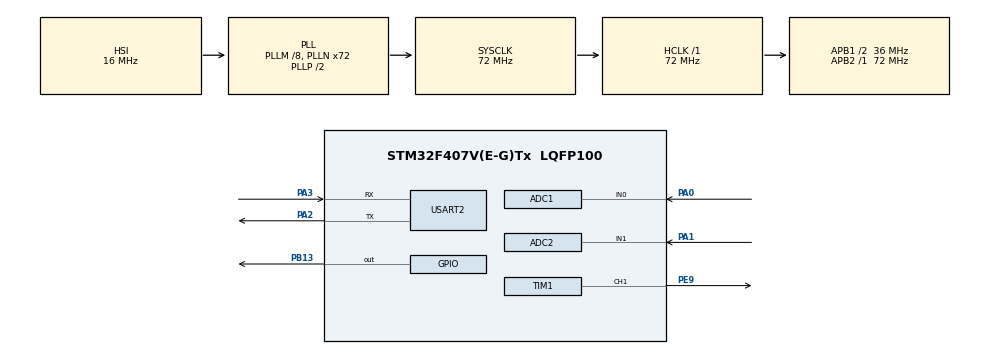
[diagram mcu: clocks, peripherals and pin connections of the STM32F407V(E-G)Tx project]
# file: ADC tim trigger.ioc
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ADC1.Channel-0\#ChannelRegularConversion=ADC_CHANNEL_0
ADC1.ExternalTrigConv=ADC_EXTERNALTRIGCONV_T2_TRGO
ADC1.NbrOfConversion=1
ADC1.NbrOfConversionFlag=1
ADC1.Rank-0\#ChannelRegularConversion=1
ADC1.Resolution=ADC_RESOLUTION_12B
ADC1.SamplingTime-0\#ChannelRegularConversion=ADC_SAMPLETIME_3CYCLES
ADC1.master=1
ADC2.Channel-0\#ChannelRegularConversion=ADC_CHANNEL_1
ADC2.ExternalTrigConv=ADC_EXTERNALTRIGCONV_T2_TRGO
ADC2.NbrOfConversionFlag=1
ADC2.Rank-0\#ChannelRegularConversion=1
ADC2.Resolution=ADC_RESOLUTION_12B
ADC2.SamplingTime-0\#ChannelRegularConversion=ADC_SAMPLETIME_3CYCLES
Dma.Request0=USART2_RX
Dma.USART2_RX.0.Direction=DMA_PERIPH_TO_MEMORY
Dma.USART2_RX.0.FIFOMode=DMA_FIFOMODE_DISABLE
Dma.USART2_RX.0.Instance=DMA1_Stream5
Dma.USART2_RX.0.MemDataAlignment=DMA_MDATAALIGN_BYTE
Dma.USART2_RX.0.MemInc=DMA_MINC_ENABLE
Dma.USART2_RX.0.Mode=DMA_NORMAL
Dma.USART2_RX.0.PeriphDataAlignment=DMA_PDATAALIGN_BYTE
Dma.USART2_RX.0.PeriphInc=DMA_PINC_DISABLE
Dma.USART2_RX.0.Priority=DMA_PRIORITY_LOW
Mcu.Family=STM32F4
Mcu.Name=STM32F407V(E-G)Tx
Mcu.Package=LQFP100
NVIC.ADC_IRQn=true\:0\:0\:false\:false\:true\:true\:true
NVIC.DMA1_Stream5_IRQn=true\:0\:0\:false\:false\:true\:false\:true
NVIC.PriorityGroup=NVIC_PRIORITYGROUP_4
NVIC.TIM2_IRQn=true\:0\:0\:false\:false\:true\:true\:true
NVIC.USART2_IRQn=true\:0\:0\:false\:false\:true\:true\:true
PA0-WKUP.Signal=ADCx_IN0
PA1.Signal=ADCx_IN1
PA2.Mode=Asynchronous
PA2.Signal=USART2_TX
PA3.Mode=Asynchronous
PA3.Signal=USART2_RX
PB13.Signal=GPIO_Output
PE9.Signal=S_TIM1_CH1
PH0-OSC_IN.Mode=HSE-External-Oscillator
PH0-OSC_IN.Signal=RCC_OSC_IN
PH1-OSC_OUT.Mode=HSE-External-Oscillator
PH1-OSC_OUT.Signal=RCC_OSC_OUT
ProjectManager.HeapSize=0x200
ProjectManager.StackSize=0x400
ProjectManager.TargetToolchain=MDK-ARM V5.32
RCC.48MHZClocksFreq_Value=36000000
RCC.AHBFreq_Value=72000000
RCC.APB1CLKDivider=RCC_HCLK_DIV2
RCC.APB1Freq_Value=36000000
RCC.APB1TimFreq_Value=72000000
RCC.APB2Freq_Value=72000000
RCC.APB2TimFreq_Value=72000000
RCC.CortexFreq_Value=72000000
RCC.HCLKFreq_Value=72000000
RCC.HSE_VALUE=25000000
RCC.HSI_VALUE=16000000
RCC.LSE_VALUE=32768
RCC.PLLM=8
RCC.PLLN=72
RCC.SYSCLKFreq_VALUE=72000000
RCC.SYSCLKSource=RCC_SYSCLKSOURCE_PLLCLK
RCC.VCOOutputFreq_Value=144000000
SH.ADCx_IN0.0=ADC1_IN0,IN0
SH.ADCx_IN1.0=ADC2_IN1,IN1
SH.S_TIM1_CH1.0=TIM1_CH1,PWM Generation1 CH1
TIM1.Channel-PWM\ Generation1\ CH1=TIM_CHANNEL_1
TIM1.Period=2500
TIM1.Prescaler=72
TIM1.Pulse-PWM\ Generation1\ CH1=625
TIM2.AutoReloadPreload=TIM_AUTORELOAD_PRELOAD_ENABLE
TIM2.Period=360
TIM2.Prescaler=1000
TIM2.TIM_MasterOutputTrigger=TIM_TRGO_UPDATE
USART2.VirtualMode=VM_ASYNC
VP_TIM1_VS_ClockSourceINT.Mode=Internal
VP_TIM2_VS_ClockSourceINT.Mode=Internal
board=custom

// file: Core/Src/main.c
/* USER CODE BEGIN Header */
/**
  ******************************************************************************
  * @file           : main.c
  * @brief          : Main program body
  ******************************************************************************
  * @attention
  *
  * <h2><center>&copy; Copyright (c) 2021 STMicroelectronics.
  * All rights reserved.</center></h2>
  *
  * This software component is licensed by ST under BSD 3-Clause license,
  * the "License"; You may not use this file except in compliance with the
  * License. You may obtain a copy of the License at:
  *                        opensource.org/licenses/BSD-3-Clause
  *
  ******************************************************************************
  */
/* USER CODE END Header */
#include "main.h"
#include "string.h"
#include "stdio.h"

ADC_HandleTypeDef hadc1;
ADC_HandleTypeDef hadc2;

TIM_HandleTypeDef htim1;
TIM_HandleTypeDef htim2;

UART_HandleTypeDef huart2;
DMA_HandleTypeDef hdma_usart2_rx;

void SystemClock_Config(void);
static void MX_GPIO_Init(void);
static void MX_ADC1_Init(void);
static void MX_DMA_Init(void);
static void MX_USART2_UART_Init(void);
static void MX_TIM2_Init(void);
static void MX_ADC2_Init(void);
static void MX_TIM1_Init(void);

/* USER CODE BEGIN 0 */
uint16_t adcVal1, adcVal2;
char txData1[15];
uint8_t RX2_Char = 0x00;
/* USER CODE END 0 */

int main(void)
{

  /* MCU Configuration--------------------------------------------------------*/

  /* Reset of all peripherals, Initializes the Flash interface and the Systick. */
  HAL_Init();

  /* Configure the system clock */
  SystemClock_Config();

  /* Initialize all configured peripherals */
  MX_GPIO_Init();
  MX_ADC1_Init();
  MX_DMA_Init();
  MX_USART2_UART_Init();
  MX_TIM2_Init();
  MX_ADC2_Init();
  MX_TIM1_Init();
  /* USER CODE BEGIN 2 */
	//HAL_TIM_Base_Start(&htim2);
	HAL_TIM_Base_Start_IT(&htim2);
	HAL_ADC_Start_IT(&hadc1);
	HAL_ADC_Start_IT(&hadc2);
	HAL_UART_Receive_IT(&huart2, &RX2_Char, 1);
	HAL_TIM_PWM_Start(&htim1, TIM_CHANNEL_1);
  /* USER CODE END 2 */

  /* Infinite loop */
  while (1)
  {

    /* USER CODE BEGIN 3 */
		//--------[ Read The Received Character & Toggle LEDs Accordingly ]--------
    if(RX2_Char == 'A')
    {
			htim1.Instance->CCR1 = 1350;
    }
    if(RX2_Char == 'B')
    {
			htim1.Instance->CCR1 = 1250;
    }
		if(RX2_Char == 'C')
    {
			htim1.Instance->CCR1 = 750;
    }
		HAL_UART_Receive_IT(&huart2, &RX2_Char, 1);
		RX2_Char = 0x00;
    HAL_Delay(5);
  }
  /* USER CODE END 3 */
}

void HAL_TIM_PeriodElapsedCallback(TIM_HandleTypeDef* htim)
{

	adcVal1 = HAL_ADC_GetValue(&hadc1);
	adcVal2 = HAL_ADC_GetValue(&hadc2);

	sprintf(txData1, "%u   %u", adcVal1, adcVal2);

	HAL_UART_Transmit(&huart2, (uint8_t *)txData1, strlen(txData1), 15);
}

void SystemClock_Config(void)
{
  RCC_OscInitTypeDef RCC_OscInitStruct = {0};
  RCC_ClkInitTypeDef RCC_ClkInitStruct = {0};

  /** Configure the main internal regulator output voltage
  */
  __HAL_RCC_PWR_CLK_ENABLE();
  __HAL_PWR_VOLTAGESCALING_CONFIG(PWR_REGULATOR_VOLTAGE_SCALE1);
  /** Initializes the RCC Oscillators according to the specified parameters
  * in the RCC_OscInitTypeDef structure.
  */
  RCC_OscInitStruct.OscillatorType = RCC_OSCILLATORTYPE_HSI;
  RCC_OscInitStruct.HSIState = RCC_HSI_ON;
  RCC_OscInitStruct.HSICalibrationValue = RCC_HSICALIBRATION_DEFAULT;
  RCC_OscInitStruct.PLL.PLLState = RCC_PLL_ON;
  RCC_OscInitStruct.PLL.PLLSource = RCC_PLLSOURCE_HSI;
  RCC_OscInitStruct.PLL.PLLM = 8;
  RCC_OscInitStruct.PLL.PLLN = 72;
  RCC_OscInitStruct.PLL.PLLP = RCC_PLLP_DIV2;
  RCC_OscInitStruct.PLL.PLLQ = 4;
  if (HAL_RCC_OscConfig(&RCC_OscInitStruct) != HAL_OK)
  {
    Error_Handler();
  }
  /** Initializes the CPU, AHB and APB buses clocks
  */
  RCC_ClkInitStruct.ClockType = RCC_CLOCKTYPE_HCLK|RCC_CLOCKTYPE_SYSCLK
                              |RCC_CLOCKTYPE_PCLK1|RCC_CLOCKTYPE_PCLK2;
  RCC_ClkInitStruct.SYSCLKSource = RCC_SYSCLKSOURCE_PLLCLK;
  RCC_ClkInitStruct.AHBCLKDivider = RCC_SYSCLK_DIV1;
  RCC_ClkInitStruct.APB1CLKDivider = RCC_HCLK_DIV2;
  RCC_ClkInitStruct.APB2CLKDivider = RCC_HCLK_DIV1;

  if (HAL_RCC_ClockConfig(&RCC_ClkInitStruct, FLASH_LATENCY_2) != HAL_OK)
  {
    Error_Handler();
  }
}

static void MX_ADC1_Init(void)
{

  ADC_ChannelConfTypeDef sConfig = {0};

  /** Configure the global features of the ADC (Clock, Resolution, Data Alignment and number of conversion)
  */
  hadc1.Instance = ADC1;
  hadc1.Init.ClockPrescaler = ADC_CLOCK_SYNC_PCLK_DIV2;
  hadc1.Init.Resolution = ADC_RESOLUTION_12B;
  hadc1.Init.ScanConvMode = DISABLE;
  hadc1.Init.ContinuousConvMode = DISABLE;
  hadc1.Init.DiscontinuousConvMode = DISABLE;
  hadc1.Init.ExternalTrigConvEdge = ADC_EXTERNALTRIGCONVEDGE_RISING;
  hadc1.Init.ExternalTrigConv = ADC_EXTERNALTRIGCONV_T2_TRGO;
  hadc1.Init.DataAlign = ADC_DATAALIGN_RIGHT;
  hadc1.Init.NbrOfConversion = 1;
  hadc1.Init.DMAContinuousRequests = DISABLE;
  hadc1.Init.EOCSelection = ADC_EOC_SINGLE_CONV;
  if (HAL_ADC_Init(&hadc1) != HAL_OK)
  {
    Error_Handler();
  }
  /** Configure for the selected ADC regular channel its corresponding rank in the sequencer and its sample time.
  */
  sConfig.Channel = ADC_CHANNEL_0;
  sConfig.Rank = 1;
  sConfig.SamplingTime = ADC_SAMPLETIME_3CYCLES;
  if (HAL_ADC_ConfigChannel(&hadc1, &sConfig) != HAL_OK)
  {
    Error_Handler();
  }

}

static void MX_ADC2_Init(void)
{

  ADC_ChannelConfTypeDef sConfig = {0};

  /** Configure the global features of the ADC (Clock, Resolution, Data Alignment and number of conversion)
  */
  hadc2.Instance = ADC2;
  hadc2.Init.ClockPrescaler = ADC_CLOCK_SYNC_PCLK_DIV2;
  hadc2.Init.Resolution = ADC_RESOLUTION_12B;
  hadc2.Init.ScanConvMode = DISABLE;
  hadc2.Init.ContinuousConvMode = DISABLE;
  hadc2.Init.DiscontinuousConvMode = DISABLE;
  hadc2.Init.ExternalTrigConvEdge = ADC_EXTERNALTRIGCONVEDGE_RISING;
  hadc2.Init.ExternalTrigConv = ADC_EXTERNALTRIGCONV_T2_TRGO;
  hadc2.Init.DataAlign = ADC_DATAALIGN_RIGHT;
  hadc2.Init.NbrOfConversion = 1;
  hadc2.Init.DMAContinuousRequests = DISABLE;
  hadc2.Init.EOCSelection = ADC_EOC_SINGLE_CONV;
  if (HAL_ADC_Init(&hadc2) != HAL_OK)
  {
    Error_Handler();
  }
  /** Configure for the selected ADC regular channel its corresponding rank in the sequencer and its sample time.
  */
  sConfig.Channel = ADC_CHANNEL_1;
  sConfig.Rank = 1;
  sConfig.SamplingTime = ADC_SAMPLETIME_3CYCLES;
  if (HAL_ADC_ConfigChannel(&hadc2, &sConfig) != HAL_OK)
  {
    Error_Handler();
  }

}

static void MX_TIM1_Init(void)
{

  TIM_ClockConfigTypeDef sClockSourceConfig = {0};
  TIM_MasterConfigTypeDef sMasterConfig = {0};
  TIM_OC_InitTypeDef sConfigOC = {0};
  TIM_BreakDeadTimeConfigTypeDef sBreakDeadTimeConfig = {0};

  htim1.Instance = TIM1;
  htim1.Init.Prescaler = 72;
  htim1.Init.CounterMode = TIM_COUNTERMODE_UP;
  htim1.Init.Period = 2500;
  htim1.Init.ClockDivision = TIM_CLOCKDIVISION_DIV1;
  htim1.Init.RepetitionCounter = 0;
  htim1.Init.AutoReloadPreload = TIM_AUTORELOAD_PRELOAD_DISABLE;
  if (HAL_TIM_Base_Init(&htim1) != HAL_OK)
  {
    Error_Handler();
  }
  sClockSourceConfig.ClockSource = TIM_CLOCKSOURCE_INTERNAL;
  if (HAL_TIM_ConfigClockSource(&htim1, &sClockSourceConfig) != HAL_OK)
  {
    Error_Handler();
  }
  if (HAL_TIM_PWM_Init(&htim1) != HAL_OK)
  {
    Error_Handler();
  }
  sMasterConfig.MasterOutputTrigger = TIM_TRGO_RESET;
  sMasterConfig.MasterSlaveMode = TIM_MASTERSLAVEMODE_DISABLE;
  if (HAL_TIMEx_MasterConfigSynchronization(&htim1, &sMasterConfig) != HAL_OK)
  {
    Error_Handler();
  }
  sConfigOC.OCMode = TIM_OCMODE_PWM1;
  sConfigOC.Pulse = 0;
  sConfigOC.OCPolarity = TIM_OCPOLARITY_HIGH;
  sConfigOC.OCNPolarity = TIM_OCNPOLARITY_HIGH;
  sConfigOC.OCFastMode = TIM_OCFAST_DISABLE;
  sConfigOC.OCIdleState = TIM_OCIDLESTATE_RESET;
  sConfigOC.OCNIdleState = TIM_OCNIDLESTATE_RESET;
  if (HAL_TIM_PWM_ConfigChannel(&htim1, &sConfigOC, TIM_CHANNEL_1) != HAL_OK)
  {
    Error_Handler();
  }
  sBreakDeadTimeConfig.OffStateRunMode = TIM_OSSR_DISABLE;
  sBreakDeadTimeConfig.OffStateIDLEMode = TIM_OSSI_DISABLE;
  sBreakDeadTimeConfig.LockLevel = TIM_LOCKLEVEL_OFF;
  sBreakDeadTimeConfig.DeadTime = 0;
  sBreakDeadTimeConfig.BreakState = TIM_BREAK_DISABLE;
  sBreakDeadTimeConfig.BreakPolarity = TIM_BREAKPOLARITY_HIGH;
  sBreakDeadTimeConfig.AutomaticOutput = TIM_AUTOMATICOUTPUT_DISABLE;
  if (HAL_TIMEx_ConfigBreakDeadTime(&htim1, &sBreakDeadTimeConfig) != HAL_OK)
  {
    Error_Handler();
  }
  HAL_TIM_MspPostInit(&htim1);

}

static void MX_TIM2_Init(void)
{

  TIM_ClockConfigTypeDef sClockSourceConfig = {0};
  TIM_MasterConfigTypeDef sMasterConfig = {0};

  htim2.Instance = TIM2;
  htim2.Init.Prescaler = 1000;
  htim2.Init.CounterMode = TIM_COUNTERMODE_UP;
  htim2.Init.Period = 360;
  htim2.Init.ClockDivision = TIM_CLOCKDIVISION_DIV1;
  htim2.Init.AutoReloadPreload = TIM_AUTORELOAD_PRELOAD_ENABLE;
  if (HAL_TIM_Base_Init(&htim2) != HAL_OK)
  {
    Error_Handler();
  }
  sClockSourceConfig.ClockSource = TIM_CLOCKSOURCE_INTERNAL;
  if (HAL_TIM_ConfigClockSource(&htim2, &sClockSourceConfig) != HAL_OK)
  {
    Error_Handler();
  }
  sMasterConfig.MasterOutputTrigger = TIM_TRGO_UPDATE;
  sMasterConfig.MasterSlaveMode = TIM_MASTERSLAVEMODE_DISABLE;
  if (HAL_TIMEx_MasterConfigSynchronization(&htim2, &sMasterConfig) != HAL_OK)
  {
    Error_Handler();
  }

}

static void MX_USART2_UART_Init(void)
{

  huart2.Instance = USART2;
  huart2.Init.BaudRate = 115200;
  huart2.Init.WordLength = UART_WORDLENGTH_8B;
  huart2.Init.StopBits = UART_STOPBITS_1;
  huart2.Init.Parity = UART_PARITY_NONE;
  huart2.Init.Mode = UART_MODE_TX_RX;
  huart2.Init.HwFlowCtl = UART_HWCONTROL_NONE;
  huart2.Init.OverSampling = UART_OVERSAMPLING_16;
  if (HAL_UART_Init(&huart2) != HAL_OK)
  {
    Error_Handler();
  }

}

static void MX_DMA_Init(void)
{

  /* DMA controller clock enable */
  __HAL_RCC_DMA1_CLK_ENABLE();

  /* DMA interrupt init */
  /* DMA1_Stream5_IRQn interrupt configuration */
  HAL_NVIC_SetPriority(DMA1_Stream5_IRQn, 0, 0);
  HAL_NVIC_EnableIRQ(DMA1_Stream5_IRQn);

}

static void MX_GPIO_Init(void)
{
  GPIO_InitTypeDef GPIO_InitStruct = {0};

  /* GPIO Ports Clock Enable */
  __HAL_RCC_GPIOH_CLK_ENABLE();
  __HAL_RCC_GPIOA_CLK_ENABLE();
  __HAL_RCC_GPIOE_CLK_ENABLE();
  __HAL_RCC_GPIOB_CLK_ENABLE();

  /*Configure GPIO pin Output Level */
  HAL_GPIO_WritePin(GPIOB, GPIO_PIN_13, GPIO_PIN_RESET);

  /*Configure GPIO pin : PB13 */
  GPIO_InitStruct.Pin = GPIO_PIN_13;
  GPIO_InitStruct.Mode = GPIO_MODE_OUTPUT_PP;
  GPIO_InitStruct.Pull = GPIO_NOPULL;
  GPIO_InitStruct.Speed = GPIO_SPEED_FREQ_LOW;
  HAL_GPIO_Init(GPIOB, &GPIO_InitStruct);

}

void Error_Handler(void)
{
  __disable_irq();
  while (1)
  {
  }
}

/************************ (C) COPYRIGHT STMicroelectronics *****END OF FILE****/
